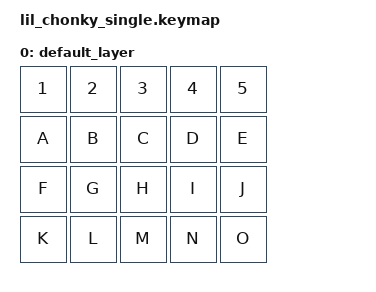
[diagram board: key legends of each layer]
#include <behaviors.dtsi>
#include <dt-bindings/zmk/keys.h>

/ {
    keymap {
        compatible = "zmk,keymap";
        default_layer {
            bindings = <
    &kp 1    &kp 2    &kp 3    &kp 4     &kp 5
    &kp A    &kp B    &kp C    &kp D     &kp E
    &kp F    &kp G    &kp H    &kp I     &kp J
    &kp K    &kp L    &kp M    &kp N     &kp O
            >;
        };
    };
};
